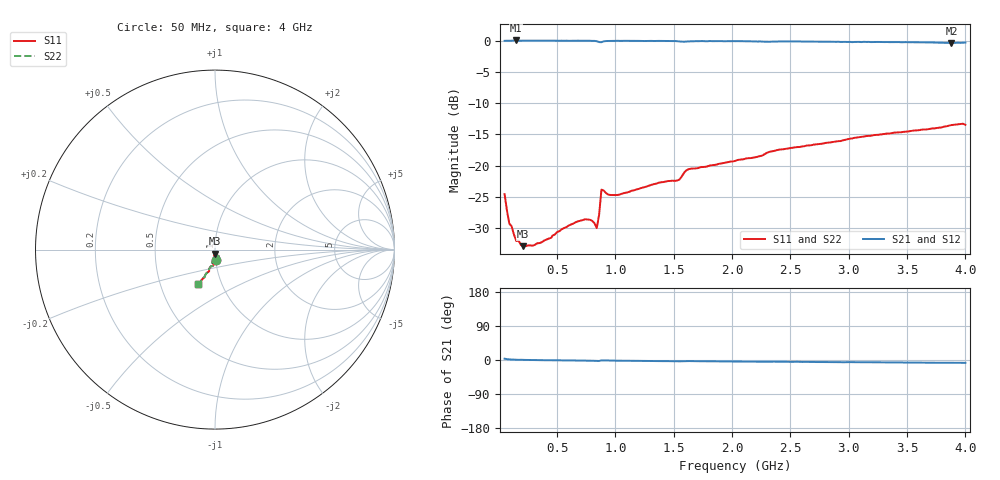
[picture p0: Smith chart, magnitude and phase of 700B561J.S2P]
!  American Technical Ceramics  Date:  3/13/98
!  One Norden Lane
!  Huntington Station,  NY.  11746-2102
!  Tel:  (516) 547-5700  Fax:  (516) 547-5748
!  Part Number  700B561J
!  Description: Porcelain, High Q, Low ESR
!  Application: Bypass, Coupling, Timing, Feedback
!  Tuning, Impedance Match, Blocking
# GHZ S DB R 50
! Freq  |S11|  S11 Ph  |S21|  S21 Ph  |S12|  S12 Ph  |S22|  S22 Ph
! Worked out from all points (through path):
!   201 points, 50 MHz to 4 GHz, reference 50 ohm
!   highest |S21| = 0.04 dB at 150 MHz (marker M1); lowest = -0.4 dB at 3.88 GHz (marker M2)
!   group delay of S21, straight-line fit = 5.65 ps
!   lowest |S11| = -32.9 dB at 210 MHz (marker M3), VSWR 1.05, Z = 49.9 - j2.25 ohm
!   |S11| at or under -10 dB: start of sweep to end of sweep
!   |S22| runs from -32.9 to -13.3 dB; largest |S21 - S12| = 0
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0.05  -24.58 -86.8  -0.02 3.5  -0.02 3.5  -24.58 -86.8
0.09  -29.29 -89.5  -0.01 1.6  -0.01 1.6  -29.29 -89.5
0.11  -29.73 -90.0  0.00 1.3  0.00 1.3  -29.73 -90.0
0.15  -32.09 -93.5  0.04 0.8  0.04 0.8  -32.09 -93.5
0.21  -32.92 -91.5  0.01 0.3  0.01 0.3  -32.92 -91.5
0.37  -32.27 -91.8  0.00 -0.5  0.00 -0.5  -32.27 -91.8
0.6  -29.60 -96.0  -0.02 -1.1  -0.02 -1.1  -29.60 -96.0
0.72  -28.74 -96.4  -0.01 -1.6  -0.01 -1.6  -28.74 -96.4
0.8  -28.85 -94.9  -0.03 -2.0  -0.03 -2.0  -28.85 -94.9
0.84  -30.02 -83.5  -0.08 -2.5  -0.08 -2.5  -30.02 -83.5
0.86  -27.92 -59.9  -0.22 -2.5  -0.22 -2.5  -27.92 -59.9
0.88  -23.86 -74.8  -0.24 -1.1  -0.24 -1.1  -23.86 -74.8
0.94  -24.67 -95.7  -0.04 -1.4  -0.04 -1.4  -24.67 -95.7
1.02  -24.71 -98.3  -0.01 -1.9  -0.01 -1.9  -24.71 -98.3
1.37  -22.76 -101.7  -0.03 -2.9  -0.03 -2.9  -22.76 -101.7
1.53  -22.41 -99.8  -0.09 -3.5  -0.09 -3.5  -22.41 -99.8
1.63  -20.56 -100.1  -0.11 -2.8  -0.11 -2.8  -20.56 -100.1
2.03  -19.25 -106.4  -0.08 -3.9  -0.08 -3.9  -19.25 -106.4
2.7  -16.65 -110.4  -0.15 -5.1  -0.15 -5.1  -16.65 -110.4
3.35  -14.88 -113.2  -0.23 -6.3  -0.23 -6.3  -14.88 -113.2
3.88  -13.52 -113.9  -0.35 -7.3  -0.35 -7.3  -13.52 -113.9
4  -13.47 -116.5  -0.30 -7.6  -0.30 -7.6  -13.47 -116.5
